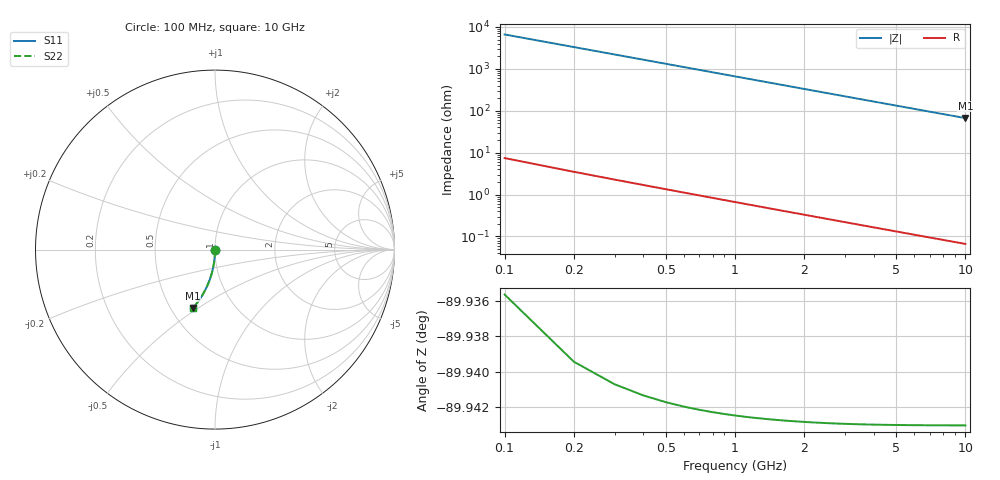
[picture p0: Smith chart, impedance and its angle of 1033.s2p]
# Hz S RI R 50.00
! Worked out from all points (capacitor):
!   100 points, 100 MHz to 10 GHz, reference 50 ohm
!   read as one part in shunt: C = 241 fF near 100 MHz
!   lowest |Z| = 66.9 ohm at 10 GHz (marker M1)
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1e8  -1.45e-05 -0.00376  1 -0.0038  1 -0.0038  -1.45e-05 -0.00376
2e8  -6.11e-05 -0.00752  0.9999 -0.0076  0.9999 -0.0076  -6.11e-05 -0.00752
3e8  -0.000136 -0.0113  0.9999 -0.0114  0.9999 -0.0114  -0.000136 -0.0113
4e8  -0.00024 -0.015  0.9998 -0.0152  0.9998 -0.0152  -0.00024 -0.015
5e8  -0.000372 -0.0188  0.9996 -0.019  0.9996 -0.019  -0.000372 -0.0188
6e8  -0.000533 -0.0225  0.9995 -0.0228  0.9995 -0.0228  -0.000533 -0.0225
7e8  -0.000722 -0.0263  0.9993 -0.0266  0.9993 -0.0266  -0.000722 -0.0263
8e8  -0.000939 -0.03  0.9991 -0.0304  0.9991 -0.0304  -0.000939 -0.03
9e8  -0.00119 -0.0338  0.9988 -0.0342  0.9988 -0.0342  -0.00119 -0.0338
1.1e9  -0.00176 -0.0413  0.9982 -0.0417  0.9982 -0.0417  -0.00176 -0.0413
1.4e9  -0.00284 -0.0524  0.9972 -0.053  0.9972 -0.053  -0.00284 -0.0524
1.8e9  -0.00466 -0.0673  0.9953 -0.068  0.9953 -0.068  -0.00466 -0.0673
2.1e9  -0.00632 -0.0783  0.9937 -0.0792  0.9937 -0.0792  -0.00632 -0.0783
2.5e9  -0.0089 -0.0929  0.9911 -0.094  0.9911 -0.094  -0.0089 -0.0929
2.9e9  -0.0119 -0.1074  0.9881 -0.1086  0.9881 -0.1086  -0.0119 -0.1074
3.4e9  -0.0163 -0.1253  0.9837 -0.1267  0.9837 -0.1267  -0.0163 -0.1253
4.2e9  -0.0245 -0.1533  0.9755 -0.1551  0.9755 -0.1551  -0.0245 -0.1533
5.1e9  -0.0356 -0.1839  0.9643 -0.186  0.9643 -0.186  -0.0356 -0.1839
5.9e9  -0.047 -0.21  0.953 -0.2125  0.953 -0.2125  -0.047 -0.21
6.7e9  -0.0597 -0.235  0.9403 -0.2379  0.9403 -0.2379  -0.0597 -0.235
8.4e9  -0.0904 -0.2845  0.9096 -0.288  0.9096 -0.288  -0.0904 -0.2845
1e10  -0.1231 -0.3259  0.8769 -0.3302  0.8769 -0.3302  -0.1231 -0.3259
